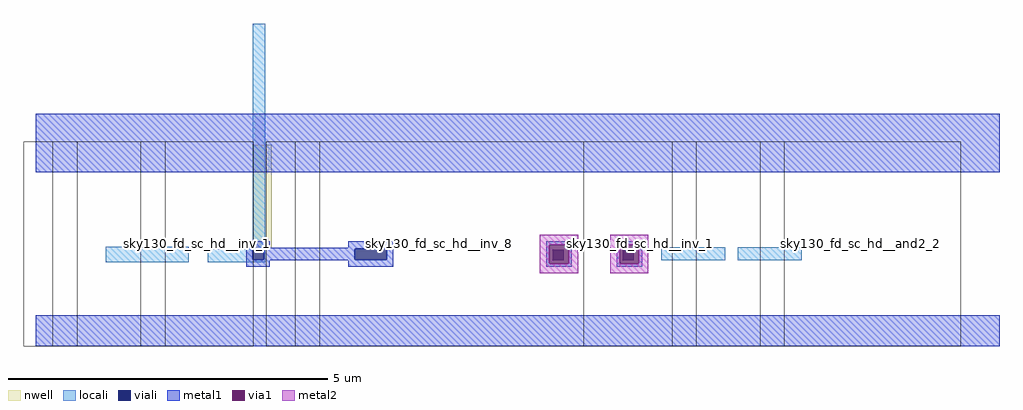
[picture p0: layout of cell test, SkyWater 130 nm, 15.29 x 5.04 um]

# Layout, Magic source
magic
tech sky130A
magscale 1 2
<< nwell >>
rect 682 261 740 582
<< locali >>
rect 220 215 480 263
rect 680 257 720 961
rect 540 256 720 257
rect 540 222 680 256
rect 714 222 720 256
rect 540 215 720 222
rect 1960 220 2160 262
rect 2200 220 2400 262
<< viali >>
rect 680 222 714 256
rect 1000 222 1100 256
rect 1620 220 1654 254
rect 1840 220 1874 254
<< metal1 >>
rect 0 496 3020 680
rect 660 260 734 280
rect 980 260 1120 280
rect 660 256 1120 260
rect 660 222 680 256
rect 714 222 1000 256
rect 1100 222 1120 256
rect 660 220 1120 222
rect 660 200 734 220
rect 980 200 1120 220
rect 1600 270 1680 280
rect 1600 210 1610 270
rect 1670 210 1680 270
rect 1600 200 1680 210
rect 1820 270 1900 280
rect 1820 210 1830 270
rect 1890 210 1900 270
rect 1820 200 1900 210
rect 0 -48 3020 48
<< via1 >>
rect 1610 254 1670 270
rect 1610 220 1620 254
rect 1620 220 1654 254
rect 1654 220 1670 254
rect 1610 210 1670 220
rect 1830 254 1890 270
rect 1830 220 1840 254
rect 1840 220 1874 254
rect 1874 220 1890 254
rect 1830 210 1890 220
<< metal2 >>
rect 1580 270 1700 300
rect 1580 210 1610 270
rect 1670 210 1700 270
rect 1580 180 1700 210
rect 1800 270 1920 300
rect 1800 210 1830 270
rect 1890 210 1920 270
rect 1800 180 1920 210
use sky130_fd_sc_hd__and2_2  sky130_fd_sc_hd__and2_2_0 $PDKPATH/libs.ref/sky130_fd_sc_hd/mag
transform 1 0 2308 0 1 0
box -38 -48 590 592
use sky130_fd_sc_hd__inv_1  sky130_fd_sc_hd__inv_1_0 $PDKPATH/libs.ref/sky130_fd_sc_hd/mag
transform 1 0 368 0 1 0
box -38 -48 314 592
use sky130_fd_sc_hd__inv_1  sky130_fd_sc_hd__inv_1_1
transform 1 0 1756 0 1 0
box -38 -48 314 592
use sky130_fd_sc_hd__inv_1  sky130_fd_sc_hd__inv_1_2
transform 1 0 2032 0 1 0
box -38 -48 314 592
use sky130_fd_sc_hd__inv_2  sky130_fd_sc_hd__inv_2_0 $PDKPATH/libs.ref/sky130_fd_sc_hd/mag
transform 1 0 92 0 1 0
box -38 -48 314 592
use sky130_fd_sc_hd__inv_8  sky130_fd_sc_hd__inv_8_0 $PDKPATH/libs.ref/sky130_fd_sc_hd/mag
transform 1 0 852 0 1 0
box -38 -48 866 592
use sky130_fd_sc_hd__tap_1  sky130_fd_sc_hd__tap_1_0 $PDKPATH/libs.ref/sky130_fd_sc_hd/mag
transform 1 0 0 0 1 0
box -38 -48 130 592
use sky130_fd_sc_hd__tap_1  sky130_fd_sc_hd__tap_1_1
transform 1 0 760 0 1 0
box -38 -48 130 592
<< end >>
